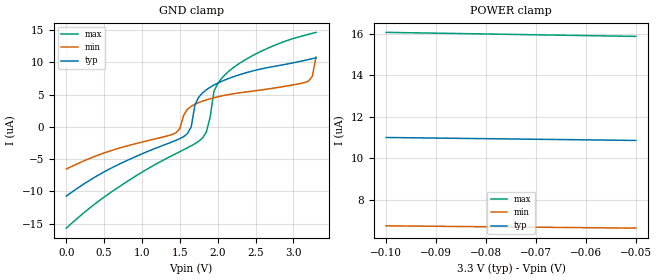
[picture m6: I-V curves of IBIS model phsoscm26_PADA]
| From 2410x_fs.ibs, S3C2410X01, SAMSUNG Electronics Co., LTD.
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[Model] phsoscm26_PADA
 Model_type  Input
 Polarity   Non-Inverting
 Enable   Active-High
 Vinh= 2.40
 Vinl= 0.40
|variable   typ   min   max
 C_comp   2pF   2pF   2pF
|variable   typ   min   max
[Temperature Range]   25.0   0   70
|variable   typ   min   max
[Voltage Range]   3.3V   3.0V   3.6V
[POWER_clamp]
|  voltage   I(typ)   I(min)   I(max)
-100mV    11uA       6.745uA    16.06uA
-50mV     10.85uA    6.634uA    15.86uA
[GND_clamp]
|  voltage   I(typ)   I(min)   I(max)
0V        -10.72uA   -6.528uA   -15.69uA
1.45V     -2.071uA   -911.6nA   -4.128uA
1.55V     -1.506uA   1.773uA    -3.536uA
1.65V     -11.93nA   3.192uA    -2.923uA
1.7V      3.426uA    3.515uA    -2.591uA
1.8V      5.269uA    3.997uA    -1.721uA
1.9V      6.142uA    4.362uA    1.468uA
1.95V     6.481uA    4.518uA    5.498uA
2.2V      7.742uA    5.122uA    9.127uA
3.2V      10.44uA    7.102uA    14.34uA
3.25V     10.58uA    7.827uA    14.5uA
3.3V      10.71uA    10.83uA    14.65uA
